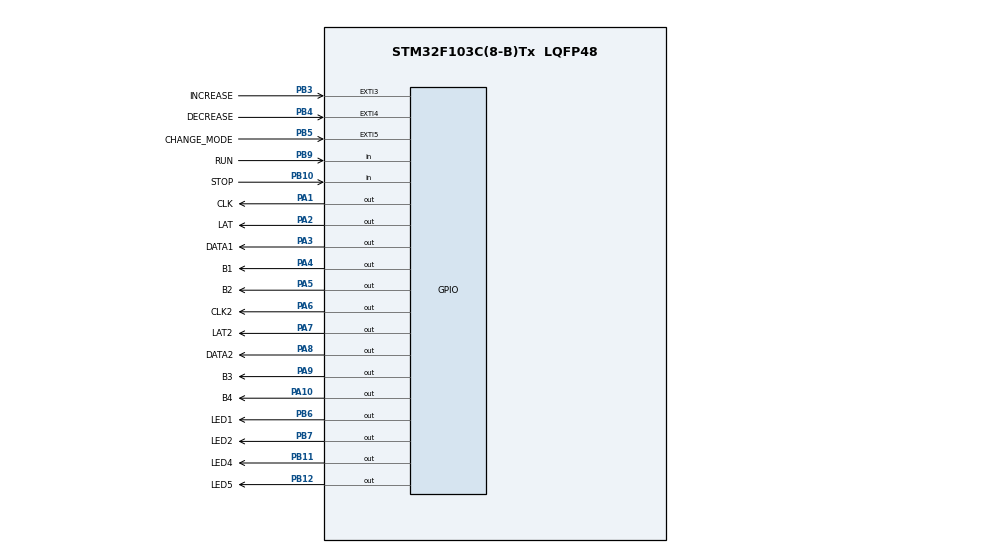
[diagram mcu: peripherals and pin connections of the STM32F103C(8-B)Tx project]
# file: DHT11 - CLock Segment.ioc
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Mcu.Family=STM32F1
Mcu.Name=STM32F103C(8-B)Tx
Mcu.Package=LQFP48
NVIC.EXTI3_IRQn=true\:0\:0\:false\:false\:true\:true\:true\:true
NVIC.EXTI4_IRQn=true\:1\:0\:true\:false\:true\:true\:true\:true
NVIC.EXTI9_5_IRQn=true\:2\:0\:true\:false\:true\:true\:true\:true
NVIC.PriorityGroup=NVIC_PRIORITYGROUP_4
PA1.GPIO_Label=CLK
PA1.Signal=GPIO_Output
PA10.GPIO_Label=B4
PA10.Signal=GPIO_Output
PA13.Mode=Serial_Wire
PA13.Signal=SYS_JTMS-SWDIO
PA14.Mode=Serial_Wire
PA14.Signal=SYS_JTCK-SWCLK
PA2.GPIO_Label=LAT
PA2.Signal=GPIO_Output
PA3.GPIO_Label=DATA1
PA3.Signal=GPIO_Output
PA4.GPIO_Label=B1
PA4.Signal=GPIO_Output
PA5.GPIO_Label=B2
PA5.Signal=GPIO_Output
PA6.GPIO_Label=CLK2
PA6.Signal=GPIO_Output
PA7.GPIO_Label=LAT2
PA7.Signal=GPIO_Output
PA8.GPIO_Label=DATA2
PA8.Signal=GPIO_Output
PA9.GPIO_Label=B3
PA9.Signal=GPIO_Output
PB10.GPIO_Label=STOP
PB10.GPIO_PuPd=GPIO_PULLUP
PB10.Signal=GPIO_Input
PB11.GPIO_Label=LED4
PB11.Signal=GPIO_Output
PB12.GPIO_Label=LED5
PB12.Signal=GPIO_Output
PB3.GPIO_Label=INCREASE
PB3.GPIO_ModeDefaultEXTI=GPIO_MODE_IT_FALLING
PB3.GPIO_PuPd=GPIO_PULLUP
PB3.Signal=GPXTI3
PB4.GPIO_Label=DECREASE
PB4.GPIO_ModeDefaultEXTI=GPIO_MODE_IT_FALLING
PB4.GPIO_PuPd=GPIO_PULLUP
PB4.Signal=GPXTI4
PB5.GPIO_Label=CHANGE_MODE
PB5.GPIO_ModeDefaultEXTI=GPIO_MODE_IT_FALLING
PB5.GPIO_PuPd=GPIO_PULLUP
PB5.Signal=GPXTI5
PB6.GPIO_Label=LED1
PB6.Signal=GPIO_Output
PB7.GPIO_Label=LED2
PB7.Signal=GPIO_Output
PB9.GPIO_Label=RUN
PB9.GPIO_PuPd=GPIO_PULLUP
PB9.Signal=GPIO_Input
PD0-OSC_IN.Mode=HSE-External-Oscillator
PD0-OSC_IN.Signal=RCC_OSC_IN
PD1-OSC_OUT.Mode=HSE-External-Oscillator
PD1-OSC_OUT.Signal=RCC_OSC_OUT
ProjectManager.HeapSize=0x200
ProjectManager.StackSize=0x400
ProjectManager.TargetToolchain=MDK-ARM V5.32
RCC.APB1Freq_Value=8000000
RCC.APB2Freq_Value=8000000
RCC.SYSCLKSource=RCC_SYSCLKSOURCE_HSE
board=custom

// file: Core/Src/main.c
/* USER CODE BEGIN Header */
/**
  ******************************************************************************
  * @file           : main.c
  * @brief          : Main program body
  ******************************************************************************
  * @attention
  *
  * Copyright (c) 2023 STMicroelectronics.
  * All rights reserved.
  *
  * This software is licensed under terms that can be found in the LICENSE file
  * in the root directory of this software component.
  * If no LICENSE file comes with this software, it is provided AS-IS.
  *
  ******************************************************************************
  */
/* USER CODE END Header */
#include "main.h"

/* USER CODE BEGIN PD */
#define	BUTTON_PRESSED		0
#define	BUTTON_UNPRESSED	1
/* USER CODE END PD */

void SystemClock_Config(void);
static void MX_GPIO_Init(void);

/* USER CODE BEGIN 0 */
uint8_t Segment_Cathode_Code[] = {0xc0,0xf9,0xa4,0xb0,0x99,0x92,0x82,0xf8,0x80,0x90};
//*********************************
void Clear_Data_Segment1(){
	for(uint8_t i = 0; i<8; i++){
		HAL_GPIO_WritePin(DATA1_GPIO_Port,DATA1_Pin,(0xff<<i)&0x80);
		HAL_GPIO_WritePin(CLK_GPIO_Port,CLK_Pin,GPIO_PIN_RESET);
		HAL_GPIO_WritePin(CLK_GPIO_Port,CLK_Pin,GPIO_PIN_SET);
	}
	HAL_GPIO_WritePin(LAT_GPIO_Port,LAT_Pin,GPIO_PIN_RESET);
	HAL_GPIO_WritePin(LAT_GPIO_Port,LAT_Pin,GPIO_PIN_SET);
}
void Write_Data_Segment1(uint8_t number){   //write data into 74hc595 then 74hc595 will push data to segment
	if((number <= 9) && (number >= 0)){
		for(uint8_t i = 0; i<8; i++){
			HAL_GPIO_WritePin(DATA1_GPIO_Port,DATA1_Pin,(Segment_Cathode_Code[number]<<i)&0x80);
			HAL_GPIO_WritePin(CLK_GPIO_Port,CLK_Pin,GPIO_PIN_RESET);
			HAL_GPIO_WritePin(CLK_GPIO_Port,CLK_Pin,GPIO_PIN_SET);
		}
		HAL_GPIO_WritePin(LAT_GPIO_Port,LAT_Pin,GPIO_PIN_RESET);
		HAL_GPIO_WritePin(LAT_GPIO_Port,LAT_Pin,GPIO_PIN_SET);
	}
}
void Turn_On_Segment1(uint8_t pos){
	if(pos == 1){	// Turn on LED 1 and turn off LED 2
		HAL_GPIO_WritePin(B1_GPIO_Port,B1_Pin,GPIO_PIN_SET);
		HAL_GPIO_WritePin(B2_GPIO_Port,B2_Pin,GPIO_PIN_RESET);
	}
	else if(pos == 2){ // Turn on LED 2 and turn off LED 1
		HAL_GPIO_WritePin(B1_GPIO_Port,B1_Pin,GPIO_PIN_RESET);
		HAL_GPIO_WritePin(B2_GPIO_Port,B2_Pin,GPIO_PIN_SET);
	}
}

void Display_Number_Segment1(uint8_t number){
	if((number >= 0) && (number <= 99)){
		Write_Data_Segment1(number / 10);
		Turn_On_Segment1(1);
		HAL_Delay(4);
		Clear_Data_Segment1();
		Write_Data_Segment1(number % 10);
		Turn_On_Segment1(2);
		HAL_Delay(4);
		Clear_Data_Segment1();
	}
}
//************************************
void Clear_Data_Segment2(){
	for(uint8_t i = 0; i<8; i++){
		HAL_GPIO_WritePin(DATA2_GPIO_Port,DATA2_Pin,(0xff<<i)&0x80);
		HAL_GPIO_WritePin(CLK2_GPIO_Port,CLK2_Pin,GPIO_PIN_RESET);
		HAL_GPIO_WritePin(CLK2_GPIO_Port,CLK2_Pin,GPIO_PIN_SET);
	}
	HAL_GPIO_WritePin(LAT2_GPIO_Port,LAT2_Pin,GPIO_PIN_RESET);
	HAL_GPIO_WritePin(LAT2_GPIO_Port,LAT2_Pin,GPIO_PIN_SET);
}
void Write_Data_Segment2(uint8_t number){   //write data into 74hc595 then 74hc595 will push data to segment
	if((number <= 9) && (number >= 0)){
		for(uint8_t i = 0; i<8; i++){
			HAL_GPIO_WritePin(DATA2_GPIO_Port,DATA2_Pin,(Segment_Cathode_Code[number]<<i)&0x80);
			HAL_GPIO_WritePin(CLK2_GPIO_Port,CLK2_Pin,GPIO_PIN_RESET);
			HAL_GPIO_WritePin(CLK2_GPIO_Port,CLK2_Pin,GPIO_PIN_SET);
		}
		HAL_GPIO_WritePin(LAT2_GPIO_Port,LAT2_Pin,GPIO_PIN_RESET);
		HAL_GPIO_WritePin(LAT2_GPIO_Port,LAT2_Pin,GPIO_PIN_SET);
	}
}
void Turn_On_Segment2(uint8_t pos){
	if(pos == 1){	// Turn on LED 1 and turn off LED 2
		HAL_GPIO_WritePin(B3_GPIO_Port,B3_Pin,GPIO_PIN_SET);
		HAL_GPIO_WritePin(B4_GPIO_Port,B4_Pin,GPIO_PIN_RESET);
	}
	else if(pos == 2){ // Turn on LED 2 and turn off LED 1
		HAL_GPIO_WritePin(B3_GPIO_Port,B3_Pin,GPIO_PIN_RESET);
		HAL_GPIO_WritePin(B4_GPIO_Port,B4_Pin,GPIO_PIN_SET);
	}
}
void Display_Number_Segment2(uint8_t number){
	if((number >= 0) && (number <= 99)){
		Write_Data_Segment2(number / 10);
		Turn_On_Segment2(1);
		HAL_Delay(4);
		Clear_Data_Segment2();
		Write_Data_Segment2(number % 10);
		Turn_On_Segment2(2);
		HAL_Delay(4);
		Clear_Data_Segment2();
	}
}
//**************************************
uint8_t hour = 00; // loi so 1 va 4
uint8_t min = 55;
void Display_Time(uint8_t* hour, uint8_t* min){
	Display_Number_Segment1(*hour);
	Display_Number_Segment2(*min);
}
//******************************
uint8_t button_value = 0;
void HAL_GPIO_EXTI_Callback(uint16_t GPIO_Pin)
{
	if(GPIO_Pin == CHANGE_MODE_Pin){
		if((button_value <2) && (button_value >= 1))	button_value++;
		else																					button_value = 1;

		if(button_value == 1){
			HAL_GPIO_WritePin(LED1_GPIO_Port,LED1_Pin,0);
			HAL_GPIO_WritePin(LED2_GPIO_Port,LED2_Pin,1);
		}
		else if(button_value == 2){
			HAL_GPIO_WritePin(LED1_GPIO_Port,LED1_Pin,1);
			HAL_GPIO_WritePin(LED2_GPIO_Port,LED2_Pin,0);
		}
	}

	if(GPIO_Pin == INCREASE_Pin){
		if(button_value == 1){
			if((min < 59) && (min >= 0))		min++;
			else if(min == 59)							min = 0;
		}
		else if(button_value == 2){
			if((hour < 24) && (hour >= 0))	hour++;
			else if(hour == 24)							hour = 0;
		}
	}

	else if(GPIO_Pin == DECREASE_Pin){
		if(button_value == 1){
			if((min <= 59) && (min > 0))		min--;
			else if(min == 0)								min = 59;
		}
		else if(button_value == 2){
			if((hour <= 24) && (hour > 0))	hour--;
			else if(hour == 0)							hour = 24;
		}
	}
}
//************************************************
/* USER CODE END 0 */

int main(void)
{

  /* MCU Configuration--------------------------------------------------------*/

  /* Reset of all peripherals, Initializes the Flash interface and the Systick. */
  HAL_Init();

  /* Configure the system clock */
  SystemClock_Config();

  /* Initialize all configured peripherals */
  MX_GPIO_Init();
  /* USER CODE BEGIN 2 */
	uint8_t sys_state1 = 0;
	uint8_t sys_state2 = 0;
	uint8_t sec = 0;
  /* USER CODE END 2 */

  /* Infinite loop */
  while (1)
  {

    /* USER CODE BEGIN 3 */
		Display_Time(&hour,&min);
		if((HAL_GPIO_ReadPin(RUN_GPIO_Port,RUN_Pin) == BUTTON_PRESSED) && sys_state1 == 0)		sys_state1 = 1;
		if(sys_state1 == 1)	HAL_GPIO_WritePin(LED4_GPIO_Port,LED4_Pin,1);
		while(sys_state1 == 1){
			for(uint8_t i = 0; i < 36; i++){
				Display_Time(&hour,&min);
			}
			if(sec < 59)	sec++;
			else if((sec == 59) && (min < 59)){
				sec = 0;
				min++;
			}
			else if((sec == 59) && (min == 59) && (hour < 24)){
				sec = 0;
				min = 0;
				hour++;
			}
			else if((sec == 59) && (min == 59) && (hour == 24)){
				sec = 0;
				min = 0;
				hour = 0;
			}
			if((HAL_GPIO_ReadPin(STOP_GPIO_Port,STOP_Pin) == BUTTON_PRESSED) && sys_state2 == 0)		sys_state2 = 1;
			if(sys_state2 == 1)	break;
		}
		HAL_GPIO_WritePin(LED4_GPIO_Port,LED4_Pin,0);
		sys_state1 = 0;
		sys_state2 = 0;
//		Display_Number_Segment1(00);

  }
  /* USER CODE END 3 */
}

void SystemClock_Config(void)
{
  RCC_OscInitTypeDef RCC_OscInitStruct = {0};
  RCC_ClkInitTypeDef RCC_ClkInitStruct = {0};

  /** Initializes the RCC Oscillators according to the specified parameters
  * in the RCC_OscInitTypeDef structure.
  */
  RCC_OscInitStruct.OscillatorType = RCC_OSCILLATORTYPE_HSE;
  RCC_OscInitStruct.HSEState = RCC_HSE_ON;
  RCC_OscInitStruct.PLL.PLLState = RCC_PLL_NONE;
  if (HAL_RCC_OscConfig(&RCC_OscInitStruct) != HAL_OK)
  {
    Error_Handler();
  }

  /** Initializes the CPU, AHB and APB buses clocks
  */
  RCC_ClkInitStruct.ClockType = RCC_CLOCKTYPE_HCLK|RCC_CLOCKTYPE_SYSCLK
                              |RCC_CLOCKTYPE_PCLK1|RCC_CLOCKTYPE_PCLK2;
  RCC_ClkInitStruct.SYSCLKSource = RCC_SYSCLKSOURCE_HSE;
  RCC_ClkInitStruct.AHBCLKDivider = RCC_SYSCLK_DIV1;
  RCC_ClkInitStruct.APB1CLKDivider = RCC_HCLK_DIV1;
  RCC_ClkInitStruct.APB2CLKDivider = RCC_HCLK_DIV1;

  if (HAL_RCC_ClockConfig(&RCC_ClkInitStruct, FLASH_LATENCY_0) != HAL_OK)
  {
    Error_Handler();
  }
}

static void MX_GPIO_Init(void)
{
  GPIO_InitTypeDef GPIO_InitStruct = {0};

  /* GPIO Ports Clock Enable */
  __HAL_RCC_GPIOD_CLK_ENABLE();
  __HAL_RCC_GPIOA_CLK_ENABLE();
  __HAL_RCC_GPIOB_CLK_ENABLE();

  /*Configure GPIO pin Output Level */
  HAL_GPIO_WritePin(GPIOA, CLK_Pin|LAT_Pin|DATA1_Pin|B1_Pin
                          |B2_Pin|CLK2_Pin|LAT2_Pin|DATA2_Pin
                          |B3_Pin|B4_Pin, GPIO_PIN_RESET);

  /*Configure GPIO pin Output Level */
  HAL_GPIO_WritePin(GPIOB, LED4_Pin|LED5_Pin|LED1_Pin|LED2_Pin, GPIO_PIN_RESET);

  /*Configure GPIO pins : CLK_Pin LAT_Pin DATA1_Pin B1_Pin
                           B2_Pin CLK2_Pin LAT2_Pin DATA2_Pin
                           B3_Pin B4_Pin */
  GPIO_InitStruct.Pin = CLK_Pin|LAT_Pin|DATA1_Pin|B1_Pin
                          |B2_Pin|CLK2_Pin|LAT2_Pin|DATA2_Pin
                          |B3_Pin|B4_Pin;
  GPIO_InitStruct.Mode = GPIO_MODE_OUTPUT_PP;
  GPIO_InitStruct.Pull = GPIO_NOPULL;
  GPIO_InitStruct.Speed = GPIO_SPEED_FREQ_LOW;
  HAL_GPIO_Init(GPIOA, &GPIO_InitStruct);

  /*Configure GPIO pins : STOP_Pin RUN_Pin */
  GPIO_InitStruct.Pin = STOP_Pin|RUN_Pin;
  GPIO_InitStruct.Mode = GPIO_MODE_INPUT;
  GPIO_InitStruct.Pull = GPIO_PULLUP;
  HAL_GPIO_Init(GPIOB, &GPIO_InitStruct);

  /*Configure GPIO pins : LED4_Pin LED5_Pin LED1_Pin LED2_Pin */
  GPIO_InitStruct.Pin = LED4_Pin|LED5_Pin|LED1_Pin|LED2_Pin;
  GPIO_InitStruct.Mode = GPIO_MODE_OUTPUT_PP;
  GPIO_InitStruct.Pull = GPIO_NOPULL;
  GPIO_InitStruct.Speed = GPIO_SPEED_FREQ_LOW;
  HAL_GPIO_Init(GPIOB, &GPIO_InitStruct);

  /*Configure GPIO pins : INCREASE_Pin DECREASE_Pin CHANGE_MODE_Pin */
  GPIO_InitStruct.Pin = INCREASE_Pin|DECREASE_Pin|CHANGE_MODE_Pin;
  GPIO_InitStruct.Mode = GPIO_MODE_IT_FALLING;
  GPIO_InitStruct.Pull = GPIO_PULLUP;
  HAL_GPIO_Init(GPIOB, &GPIO_InitStruct);

  /* EXTI interrupt init*/
  HAL_NVIC_SetPriority(EXTI3_IRQn, 0, 0);
  HAL_NVIC_EnableIRQ(EXTI3_IRQn);

  HAL_NVIC_SetPriority(EXTI4_IRQn, 1, 0);
  HAL_NVIC_EnableIRQ(EXTI4_IRQn);

  HAL_NVIC_SetPriority(EXTI9_5_IRQn, 2, 0);
  HAL_NVIC_EnableIRQ(EXTI9_5_IRQn);

}

void Error_Handler(void)
{
  __disable_irq();
  while (1)
  {
  }
}
